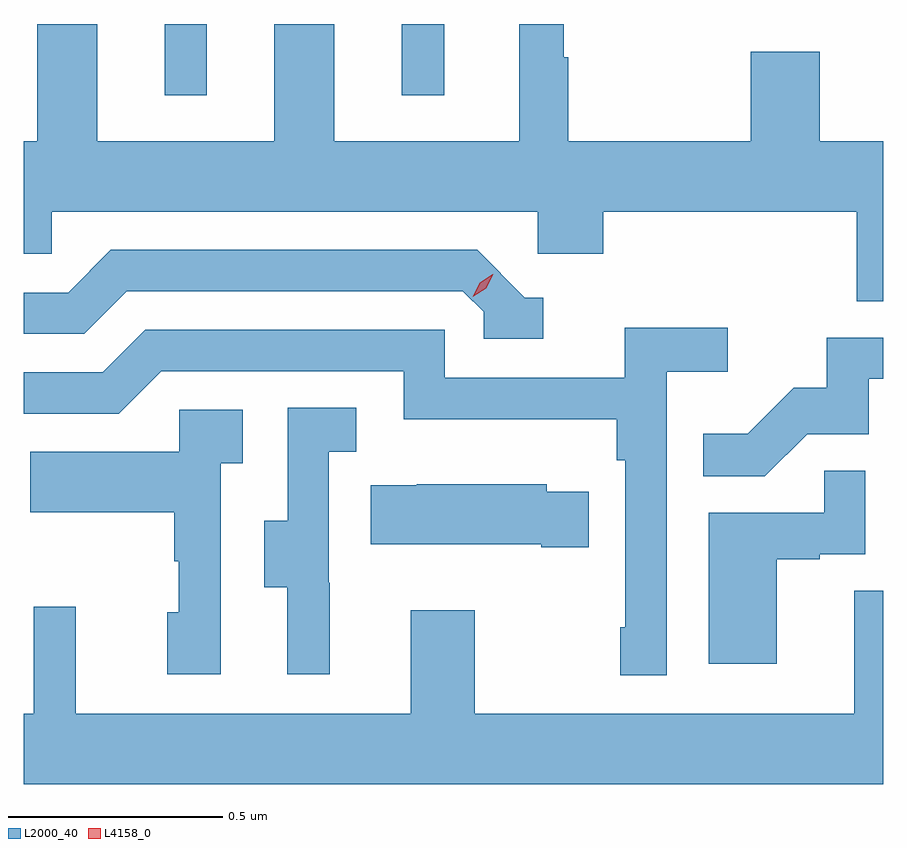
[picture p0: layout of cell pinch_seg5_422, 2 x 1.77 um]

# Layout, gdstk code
import gdstk
lib = gdstk.Library(unit=1e-6, precision=1e-09)
def R(c, l, rs):  # rectangles x0, y0, x1, y1
    for r in rs: c.add(gdstk.rectangle(r[:2], r[2:], *l))
def P(c, l, *ps):  # polygons
    for p in ps: c.add(gdstk.Polygon(p, *l))
L2000_40 = (2000, 40)
L4158_0 = (4158, 0)

pinch_seg5_422 = lib.new_cell('pinch_seg5_422')
R(pinch_seg5_422, L2000_40, [(996.578,858.363,996.676,858.529), (997.13,858.363,997.228,858.529)])
P(pinch_seg5_422, L2000_40, [(998.25,858.256),(998.102,858.256),(998.102,858.464),(997.942,858.464),(997.942,858.256),(997.517,858.256),(997.517,858.452),(997.507,858.452),(997.507,858.529),(997.403,858.529),(997.403,858.256),(996.973,858.256),(996.973,858.529),(996.833,858.529),(996.833,858.256),(996.421,858.256),(996.421,858.529),(996.281,858.529),(996.281,858.256),(996.25,858.256),(996.25,857.994),(996.315,857.994),(996.315,858.092),(997.446,858.092),(997.446,857.994),(997.598,857.994),(997.598,858.092),(998.189,858.092),(998.189,857.884),(998.25,857.884)],
  [(997.459,857.892),(997.416,857.892),(997.305,858.003),(996.452,858.003),(996.353,857.904),(996.25,857.904),(996.25,857.808),(996.39,857.808),(996.489,857.907),(997.272,857.907),(997.32,857.859),(997.32,857.796),(997.459,857.796)],
  [(997.746,857.72),(997.888,857.72),(997.888,857.822),(997.649,857.822),(997.649,857.706),(997.23,857.706),(997.23,857.817),(996.533,857.817),(996.434,857.718),(996.25,857.718),(996.25,857.622),(996.471,857.622),(996.57,857.721),(997.134,857.721),(997.134,857.609),(997.63,857.609),(997.63,857.513),(997.65,857.513),(997.65,857.125),(997.638,857.125),(997.638,857.013),(997.746,857.013)],
  [(998.073,857.574),(998.217,857.574),(998.217,857.703),(998.25,857.703),(998.25,857.799),(998.119,857.799),(998.119,857.682),(998.042,857.682),(997.935,857.575),(997.831,857.575),(997.831,857.476),(997.975,857.476)],
  [(996.962,857.229),(996.96,857.229),(996.96,857.533),(997.024,857.533),(997.024,857.636),(996.864,857.636),(996.864,857.373),(996.809,857.373),(996.809,857.218),(996.863,857.218),(996.863,857.016),(996.962,857.016)],
  [(996.708,857.507),(996.76,857.507),(996.76,857.631),(996.612,857.631),(996.612,857.533),(996.265,857.533),(996.265,857.393),(996.6,857.393),(996.6,857.279),(996.61,857.279),(996.61,857.16),(996.584,857.16),(996.584,857.016),(996.708,857.016)],
  [(998.002,857.283),(998.102,857.283),(998.102,857.295),(998.208,857.295),(998.208,857.489),(998.113,857.489),(998.113,857.391),(997.844,857.391),(997.844,857.04),(998.002,857.04)],
  [(997.565,857.44),(997.467,857.44),(997.467,857.458),(997.165,857.458),(997.165,857.455),(997.057,857.455),(997.057,857.318),(997.454,857.318),(997.454,857.311),(997.565,857.311)],
  [(998.25,857.21),(998.183,857.21),(998.183,856.924),(997.299,856.924),(997.299,857.164),(997.151,857.164),(997.151,856.924),(996.371,856.924),(996.371,857.173),(996.273,857.173),(996.273,856.924),(996.25,856.924),(996.25,856.76),(998.25,856.76)])
P(pinch_seg5_422, L4158_0, [(997.295,857.894),(997.295,857.894),(997.311,857.927),(997.341,857.946),(997.342,857.946),(997.342,857.946),(997.326,857.914),(997.295,857.894)])

lib.write_gds('pinch_seg5_422.gds')
